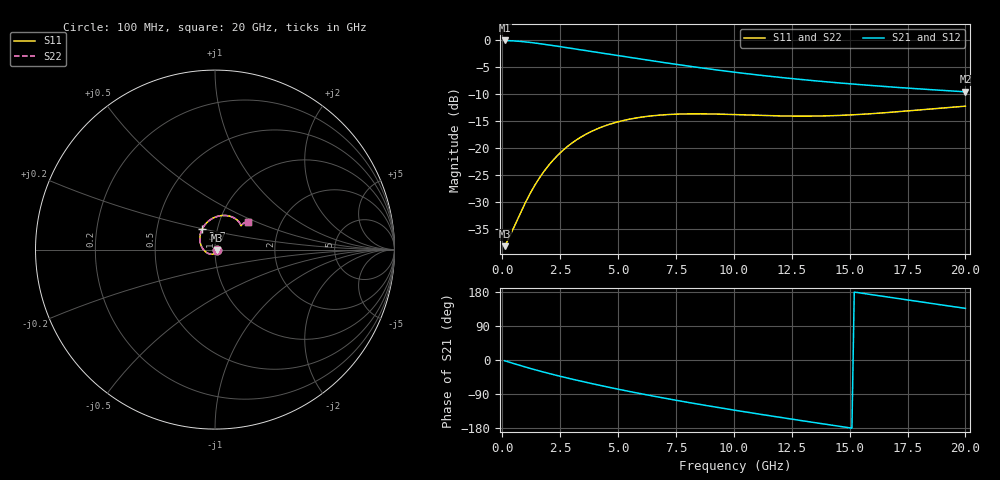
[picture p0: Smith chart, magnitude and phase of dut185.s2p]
! Touchstone file exported from HFSS 2024.1.0
!  File:  C:/UserFiles/LocalFiles/RDL_TSV_Batchsim/temp_RDL_TSV_185_1779440319.aedt
!  Generated:  05:14:05 PM May 22, 2026
!  Design:  RDL_TSV
!  Project:  temp_RDL_TSV_185_1779440319
!  Setup:  Setup1
!  Solution:  Sweep
! Variables:
!  dtsv = 9.09um
!  hbump = 3um
!  htsv = 96.9um
!  ldown = 136.05um
!  lrdl = 684.45um
!  p = 40
!  p1 = 45.09um
!  rhole = 10um
!  subl = 3145.95um
!  t = 450um
!  tdown = 4.25um
!  trdl = 4.37um
!  viad = 10um
!  wdown = 10.84um
!  wrdl = 29.43um
!  xbump = 18um
# GHz S MA R 50.000000
! Terminal data exported
! Port[1] = TM1_1_T1
! Port[2] = TM1_4_T1
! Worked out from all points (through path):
!   200 points, 100 MHz to 20 GHz, reference 50 ohm
!   highest |S21| = -0.11 dB at 100 MHz (marker M1); lowest = -9.6 dB at 20 GHz (marker M2)
!   group delay of S21, straight-line fit = 29.5 ps
!   lowest |S11| = -38.2 dB at 100 MHz (marker M3), VSWR 1.02, Z = 51.2 - j0.286 ohm
!   |S11| at or under -10 dB: start of sweep to end of sweep
!   |S22| runs from -38.2 to -12.3 dB; largest |S21 - S12| = 1.5e-14
!   S11 on the Smith chart (normalised r, x): 100 MHz: 1.02, -0.01; 3.7 GHz: 0.85, +0.20; 20 GHz: 1.37, +0.45
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0.1  0.01224 -13.2  0.9874 -2.0  0.9874 -2.0  0.01224 -13.2
! Gamma 0 0 0 0
! Port Impedance 50 0 50 0
0.8  0.02531 -105.9  0.9668 -15.0  0.9668 -15.0  0.0253 -105.9
1.3  0.0411 -146.1  0.9415 -23.8  0.9415 -23.8  0.04109 -146.1
1.7  0.05633 -169.6  0.9172 -30.5  0.9172 -30.5  0.05632 -169.6
2.1  0.07281 171.5  0.8914 -36.9  0.8914 -36.9  0.07279 171.5
2.5  0.08967 155.9  0.8652 -43.0  0.8652 -43.0  0.08965 155.9
3  0.1102 139.5  0.833 -50.3  0.833 -50.3  0.1102 139.5
3.5  0.1294 125.8  0.8018 -57.3  0.8018 -57.3  0.1294 125.8
3.7  0.1365 120.9  0.7897 -60.0  0.7897 -60.0  0.1365 120.9
4.4  0.1587 105.8  0.7486 -69.3  0.7486 -69.3  0.1586 105.8
5.1  0.1762 93.3  0.7097 -78.2  0.7097 -78.2  0.1762 93.2
6  0.1921 80.1  0.6628 -89.2  0.6628 -89.2  0.192 80.1
6.8  0.2007 70.6  0.6244 -98.4  0.6244 -98.4  0.2006 70.6
7.6  0.2051 62.8  0.5891 -107.3  0.5891 -107.3  0.205 62.8
8.4  0.2063 56.6  0.5571 -115.9  0.5571 -115.9  0.2062 56.6
10.1  0.2028 47.7  0.4992 -133.1  0.4992 -133.1  0.2026 47.7
11.7  0.1979 43.6  0.456 -148.5  0.456 -148.5  0.1977 43.6
13.4  0.1965 42.4  0.4193 -164.4  0.4193 -164.4  0.1963 42.4
15  0.2013 42.6  0.3915 -179.0  0.3915 -179.0  0.201 42.7
16.7  0.2126 42.8  0.3671 165.7  0.3671 165.7  0.2123 42.9
18.4  0.2278 41.9  0.3467 150.5  0.3467 150.5  0.2276 42.0
20  0.2429 40.0  0.3301 136.2  0.3301 136.2  0.2428 40.1
